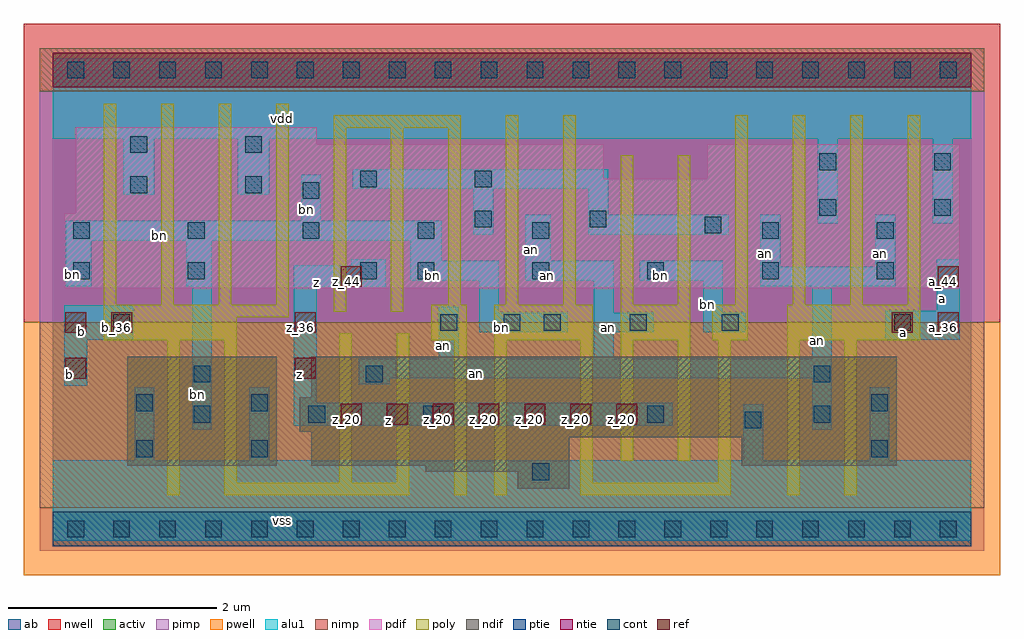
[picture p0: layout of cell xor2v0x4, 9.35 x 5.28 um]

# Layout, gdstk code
import gdstk
lib = gdstk.Library(unit=1e-6, precision=2.5e-09)
def R(c, l, rs):  # rectangles x0, y0, x1, y1
    for r in rs: c.add(gdstk.rectangle(r[:2], r[2:], *l))
def A(c, l, x, y, w, h, nx, ny, dx, dy):  # array of equal rectangles
    R(c, l, [(x+i*dx, y+j*dy, x+i*dx+w, y+j*dy+h) for i in range(nx) for j in range(ny)])
ndif = (3, 0)
pdif = (4, 0)
ntie = (5, 0)
ptie = (6, 0)
ref = (24, 0)
cont = (25, 0)
pwell = (41, 0)
nwell = (42, 0)
activ = (43, 0)
pimp = (44, 0)
nimp = (45, 0)
poly = (46, 0)
alu1 = (49, 0)
ab = (63, 0)

xor2v0x4 = lib.new_cell('xor2v0x4')
R(xor2v0x4, ndif, [(4.455,0.385,4.95,0.55), (3.575,0.55,4.95,0.605), (0.715,0.605,2.145,1.65), (2.475,0.605,4.95,0.88), (6.6,0.605,8.085,0.88), (2.475,0.88,8.085,0.935), (2.365,0.935,8.085,1.265), (2.475,1.265,8.085,1.65)])
R(xor2v0x4, pdif, [(0.11,2.31,8.69,3.025), (0.22,3.025,8.69,3.355), (0.22,3.355,5.28,3.685), (6.27,3.355,8.69,3.685), (0.22,3.685,2.53,3.85)])
R(xor2v0x4, ntie, [(0,4.235,8.8,4.565)])
R(xor2v0x4, ptie, [(0,-0.165,8.8,0.165)])
A(xor2v0x4, ref, 2.76, 1, 0.2, 0.2, 7, 1, 0.44, 0)
R(xor2v0x4, ref, [(0.12,1.44,0.32,1.64), (2.32,1.44,2.52,1.64), (0.12,1.88,0.32,2.08), (0.56,1.88,0.76,2.08), (2.32,1.88,2.52,2.08), (8.04,1.88,8.24,2.08), (8.48,1.88,8.68,2.08), (2.76,2.32,2.96,2.52), (8.48,2.32,8.68,2.52)])
A(xor2v0x4, cont, 0.14, -0.08, 0.16, 0.16, 20, 2, 0.44, 4.4)
A(xor2v0x4, cont, 1.35, 1.02, 0.16, 0.16, 3, 1, 1.1, 0)
A(xor2v0x4, cont, 3.495, 2.395, 0.16, 0.16, 5, 1, 1.1, 0)
A(xor2v0x4, cont, 0.195, 2.78, 0.16, 0.16, 5, 1, 1.1, 0)
R(xor2v0x4, cont, [(4.595,0.47,4.755,0.63), (0.8,0.69,0.96,0.85), (1.9,0.69,2.06,0.85), (7.84,0.69,8,0.85), (6.63,0.965,6.79,1.125), (5.695,1.02,5.855,1.18), (7.29,1.02,7.45,1.18), (0.8,1.13,0.96,1.29), (1.9,1.13,2.06,1.29), (7.84,1.13,8,1.29), (1.35,1.405,1.51,1.565), (3,1.405,3.16,1.565), (7.29,1.405,7.45,1.565), (0.58,1.9,0.74,2.06), (3.715,1.9,3.875,2.06), (4.32,1.9,4.48,2.06), (4.705,1.9,4.865,2.06), (5.53,1.9,5.69,2.06), (6.41,1.9,6.57,2.06), (8.06,1.9,8.22,2.06), (0.195,2.395,0.355,2.555), (1.295,2.395,1.455,2.555), (2.945,2.395,3.105,2.555), (6.795,2.78,6.955,2.94), (7.895,2.78,8.055,2.94), (6.245,2.835,6.405,2.995), (4.045,2.89,4.205,3.05), (5.145,2.89,5.305,3.05), (7.345,3,7.505,3.16), (8.445,3,8.605,3.16), (2.395,3.165,2.555,3.325), (0.745,3.22,0.905,3.38), (1.845,3.22,2.005,3.38), (2.945,3.275,3.105,3.435), (4.045,3.275,4.205,3.435), (7.345,3.44,7.505,3.6), (8.445,3.44,8.605,3.6), (0.745,3.605,0.905,3.765), (1.845,3.605,2.005,3.765)])
R(xor2v0x4, pwell, [(-0.275,-0.44,9.075,1.98)])
R(xor2v0x4, nwell, [(-0.275,1.98,9.075,4.84)])
R(xor2v0x4, activ, [(0,-0.165,8.8,0.165), (4.455,0.385,4.95,0.55), (3.575,0.55,4.95,0.605), (0.715,0.605,2.145,1.65), (2.475,0.605,4.95,0.88), (6.6,0.605,8.085,0.88), (2.475,0.88,8.085,0.935), (2.365,0.935,8.085,1.265), (2.475,1.265,8.085,1.65), (0.11,2.31,8.69,3.025), (0.22,3.025,8.69,3.355), (0.22,3.355,5.28,3.685), (6.27,3.355,8.69,3.685), (0.22,3.685,2.53,3.85), (0,4.235,8.8,4.565)])
R(xor2v0x4, pimp, [(-0.125,-0.205,8.925,0.205), (-0.125,1.98,8.925,4.195)])
R(xor2v0x4, nimp, [(-0.125,0.205,8.925,1.98), (-0.125,4.195,8.925,4.605)])
A(xor2v0x4, poly, 0.49, 2.15, 0.12, 1.925, 4, 1, 0.55, 0)
A(xor2v0x4, poly, 6.54, 2.15, 0.12, 1.815, 4, 1, 0.55, 0)
R(xor2v0x4, poly, [(1.095,0.325,1.215,1.81), (1.645,0.325,3.415,0.445), (3.845,0.325,3.965,1.81), (4.23,0.325,4.35,1.81), (5.055,0.325,6.495,0.445), (7.035,0.325,7.155,1.81), (7.585,0.325,7.705,1.81), (1.645,0.445,1.765,1.81), (2.745,0.445,2.865,1.875), (3.295,0.445,3.415,1.875), (5.055,0.445,5.175,1.81), (6.375,0.445,6.495,1.81), (5.44,0.655,5.56,1.81), (5.99,0.655,6.11,1.81), (0.49,1.81,1.765,2.03), (3.625,1.81,3.965,2.15), (4.23,1.81,5.175,2.15), (5.44,1.81,6.11,2.15), (6.32,1.81,6.66,2.15), (7.035,1.81,8.31,2.15), (0.49,2.03,2.26,2.15), (2.69,2.085,2.81,3.845), (3.24,2.085,3.36,3.845), (3.79,2.15,3.91,3.845), (4.34,2.15,4.46,3.965), (4.89,2.15,5.01,3.965), (5.44,2.15,5.56,3.58), (5.99,2.15,6.11,3.58), (2.69,3.845,3.91,3.965)])
R(xor2v0x4, alu1, [(0,-0.11,8.8,0.66), (0.785,0.66,0.975,1.36), (1.885,0.66,2.075,1.36), (6.615,0.66,6.805,1.195), (7.825,0.66,8.015,1.36), (1.335,0.95,1.525,2.325), (7.275,0.95,7.465,1.445), (2.31,0.99,5.94,1.21), (2.31,1.21,2.53,2.31), (0.11,1.375,0.33,1.815), (2.93,1.39,3.23,1.445), (2.93,1.445,7.465,1.635), (3.7,1.635,3.89,2.13), (5.185,1.635,5.375,1.885), (7.275,1.635,7.465,2.325), (0.11,1.815,0.77,2.145), (7.975,1.815,8.69,2.09), (4.085,1.885,4.935,2.075), (5.185,1.885,5.76,2.075), (6.23,1.885,6.64,2.075), (4.085,2.075,4.275,2.38), (5.185,2.075,5.375,2.38), (6.23,2.075,6.42,2.38), (8.47,2.09,8.69,2.585), (2.31,2.31,3.19,2.53), (0.125,2.325,0.37,2.765), (1.28,2.325,1.525,2.765), (6.78,2.325,8.07,2.515), (3.425,2.38,4.275,2.57), (4.525,2.38,5.375,2.57), (5.625,2.38,6.42,2.57), (6.78,2.515,6.97,3.01), (7.88,2.515,8.07,3.01), (2.86,2.53,3.19,2.585), (3.425,2.57,3.725,2.765), (4.525,2.57,4.77,3.01), (0.125,2.765,3.725,2.955), (4.03,2.82,4.22,3.26), (5.13,2.82,6.475,3.01), (7.33,2.93,7.52,3.74), (8.43,2.93,8.62,3.74), (2.38,2.955,2.57,3.395), (5.13,3.01,5.32,3.26), (0.675,3.205,0.975,3.74), (1.775,3.205,2.075,3.74), (2.875,3.26,5.32,3.45), (0,3.74,8.8,4.51)])
R(xor2v0x4, ab, [(0,0,8.8,4.4)])
xor2v0x4.add(gdstk.Label('vss', (2.2,0.0825), layer=49, texttype=0))
xor2v0x4.add(gdstk.Label('z', (3.2175,1.045), layer=49, texttype=0))
xor2v0x4.add(gdstk.Label('an', (4.0625,1.4925), layer=49, texttype=0))
xor2v0x4.add(gdstk.Label('a', (8.1525,1.8825), layer=49, texttype=0))
xor2v0x4.add(gdstk.Label('a', (8.525,2.2125), layer=49, texttype=0))
xor2v0x4.add(gdstk.Label('an', (7.3225,1.8075), layer=49, texttype=0))
xor2v0x4.add(gdstk.Label('an', (5.3275,1.9325), layer=49, texttype=0))
xor2v0x4.add(gdstk.Label('bn', (4.2975,1.9325), layer=49, texttype=0))
xor2v0x4.add(gdstk.Label('an', (7.9275,2.6375), layer=49, texttype=0))
xor2v0x4.add(gdstk.Label('an', (6.8275,2.6375), layer=49, texttype=0))
xor2v0x4.add(gdstk.Label('bn', (6.2775,2.15), layer=49, texttype=0))
xor2v0x4.add(gdstk.Label('an', (3.7475,1.7575), layer=49, texttype=0))
xor2v0x4.add(gdstk.Label('z', (2.365,1.485), layer=49, texttype=0))
xor2v0x4.add(gdstk.Label('bn', (5.8225,2.4275), layer=49, texttype=0))
xor2v0x4.add(gdstk.Label('an', (4.7375,2.4275), layer=49, texttype=0))
xor2v0x4.add(gdstk.Label('bn', (3.6375,2.4275), layer=49, texttype=0))
xor2v0x4.add(gdstk.Label('an', (4.585,2.68), layer=49, texttype=0))
xor2v0x4.add(gdstk.Label('z', (2.53,2.365), layer=49, texttype=0))
xor2v0x4.add(gdstk.Label('bn', (1.3825,1.2925), layer=49, texttype=0))
xor2v0x4.add(gdstk.Label('b', (0.165,1.485), layer=49, texttype=0))
xor2v0x4.add(gdstk.Label('b', (0.275,1.8975), layer=49, texttype=0))
xor2v0x4.add(gdstk.Label('bn', (0.185,2.435), layer=49, texttype=0))
xor2v0x4.add(gdstk.Label('bn', (1.025,2.8125), layer=49, texttype=0))
xor2v0x4.add(gdstk.Label('bn', (2.4275,3.065), layer=49, texttype=0))
xor2v0x4.add(gdstk.Label('vdd', (2.2,3.9325), layer=49, texttype=0))
xor2v0x4.add(gdstk.Label('a_44', (8.53,2.37), layer=24, texttype=0))
xor2v0x4.add(gdstk.Label('a_36', (8.53,1.93), layer=24, texttype=0))
xor2v0x4.add(gdstk.Label('b_28', (0.17,1.49), layer=24, texttype=0))
xor2v0x4.add(gdstk.Label('z_44', (2.81,2.37), layer=24, texttype=0))
xor2v0x4.add(gdstk.Label('z_36', (2.37,1.93), layer=24, texttype=0))
xor2v0x4.add(gdstk.Label('z_28', (2.37,1.49), layer=24, texttype=0))
xor2v0x4.add(gdstk.Label('z_20', (2.81,1.05), layer=24, texttype=0))
xor2v0x4.add(gdstk.Label('z_20', (5.45,1.05), layer=24, texttype=0))
xor2v0x4.add(gdstk.Label('b_36', (0.61,1.93), layer=24, texttype=0))
xor2v0x4.add(gdstk.Label('a_36', (8.09,1.93), layer=24, texttype=0))
xor2v0x4.add(gdstk.Label('b_36', (0.17,1.93), layer=24, texttype=0))
xor2v0x4.add(gdstk.Label('z_20', (3.25,1.05), layer=24, texttype=0))
xor2v0x4.add(gdstk.Label('z_20', (3.69,1.05), layer=24, texttype=0))
xor2v0x4.add(gdstk.Label('z_20', (4.13,1.05), layer=24, texttype=0))
xor2v0x4.add(gdstk.Label('z_20', (4.57,1.05), layer=24, texttype=0))
xor2v0x4.add(gdstk.Label('z_20', (5.01,1.05), layer=24, texttype=0))

lib.write_gds('xor2v0x4.gds')
